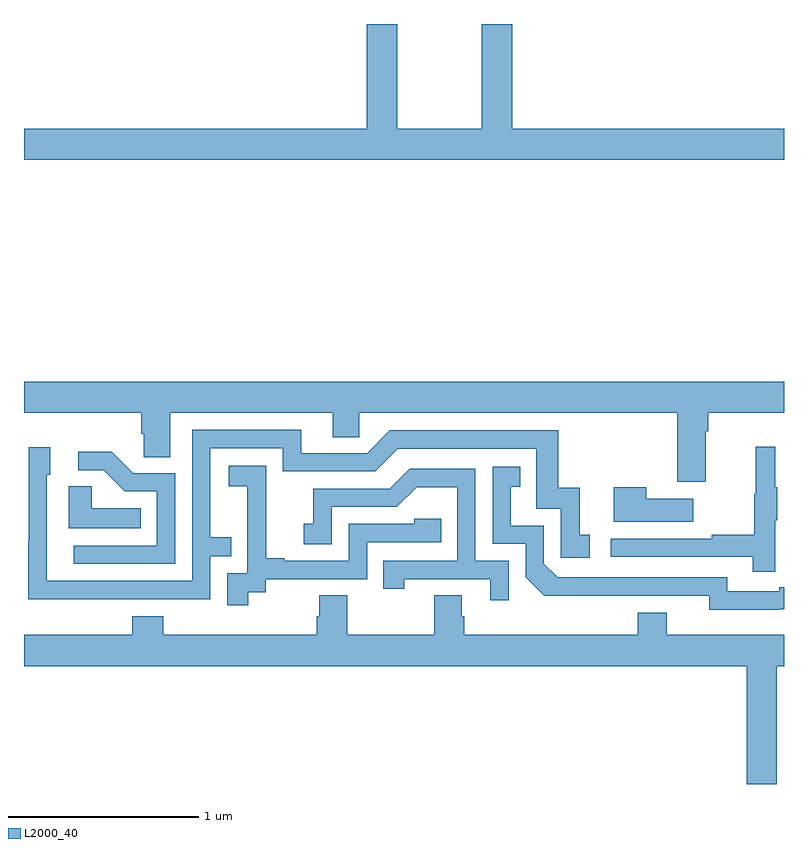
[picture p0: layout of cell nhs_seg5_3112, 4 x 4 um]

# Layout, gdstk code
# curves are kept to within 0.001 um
import gdstk
lib = gdstk.Library(unit=1e-6, precision=1e-09)
def P(c, l, *ps):  # polygons
    for p in ps: c.add(gdstk.Polygon(p, *l))
L2000_40 = (2000, 40)

nhs_seg5_3112 = lib.new_cell('nhs_seg5_3112')
P(nhs_seg5_3112, L2000_40, [(295,866.248),(293.57,866.248),(293.57,866.799),(293.41,866.799),(293.41,866.248),(292.965,866.248),(292.965,866.799),(292.805,866.799),(292.805,866.248),(291,866.248),(291,866.084),(295,866.084)],
  [(294.589,864.656),(294.602,864.656),(294.602,864.752),(295,864.752),(295,864.916),(291,864.916),(291,864.752),(291.617,864.752),(291.617,864.643),(291.63,864.643),(291.63,864.52),(291.769,864.52),(291.769,864.752),(292.625,864.752),(292.625,864.625),(292.764,864.625),(292.764,864.752),(294.437,864.752),(294.437,864.39),(294.589,864.39)],
  [(291.485,863.772),(291.981,863.772),(291.981,863.997),(292.091,863.997),(292.091,864.098),(291.981,864.098),(291.981,864.567),(292.362,864.567),(292.362,864.444),(292.848,864.444),(292.968,864.564),(293.697,864.564),(293.697,864.249),(293.826,864.249),(293.826,863.991),(293.977,863.991),(293.977,864.111),(293.924,864.111),(293.924,864.358),(293.813,864.358),(293.813,864.66),(292.926,864.66),(292.806,864.54),(292.459,864.54),(292.459,864.663),(291.885,864.663),(291.885,863.868),(291.12,863.868),(291.12,864.426),(291.139,864.426),(291.139,864.571),(291.024,864.571),(291.024,864.077),(291.022,864.077),(291.022,863.771)],
  [(294.953,864.187),(294.964,864.187),(294.964,864.361),(294.953,864.361),(294.953,864.574),(294.85,864.574),(294.85,864.324),(294.843,864.324),(294.843,864.11),(294.619,864.11),(294.619,864.09),(294.087,864.09),(294.087,863.994),(294.835,863.994),(294.835,863.916),(294.953,863.916)],
  [(291.795,864.435),(291.576,864.435),(291.463,864.548),(291.285,864.548),(291.285,864.45),(291.419,864.45),(291.53,864.339),(291.699,864.339),(291.699,864.054),(291.261,864.054),(291.261,863.958),(291.795,863.958)],
  [(292.18,863.809),(292.272,863.809),(292.272,863.877),(292.806,863.877),(292.806,864.072),(293.195,864.072),(293.195,864.195),(293.055,864.195),(293.055,864.168),(292.71,864.168),(292.71,863.973),(292.369,863.973),(292.369,863.986),(292.274,863.986),(292.274,864.269),(292.275,864.269),(292.275,864.475),(292.077,864.475),(292.077,864.365),(292.175,864.365),(292.175,864.137),(292.176,864.137),(292.176,863.907),(292.071,863.907),(292.071,863.739),(292.18,863.739)],
  [(294.974,863.718),(295,863.718),(295,863.834),(294.974,863.834),(294.974,863.814),(294.702,863.814),(294.702,863.886),(293.808,863.886),(293.736,863.958),(293.736,864.159),(293.563,864.159),(293.563,864.363),(293.612,864.363),(293.612,864.469),(293.466,864.469),(293.466,864.063),(293.64,864.063),(293.64,863.886),(293.738,863.789),(294.606,863.79),(294.606,863.717)],
  [(293.55,863.973),(293.376,863.973),(293.376,864.459),(293.03,864.459),(292.925,864.354),(292.522,864.354),(292.522,864.169),(292.473,864.169),(292.473,864.06),(292.62,864.06),(292.62,864.258),(292.962,864.258),(293.066,864.362),(293.28,864.362),(293.28,863.973),(292.891,863.973),(292.891,863.826),(293.002,863.826),(293.002,863.877),(293.453,863.877),(293.453,863.766),(293.55,863.766)],
  [(291.614,864.25),(291.357,864.25),(291.357,864.365),(291.236,864.365),(291.236,864.146),(291.614,864.146)],
  [(294.523,864.301),(294.275,864.301),(294.275,864.361),(294.104,864.361),(294.104,864.179),(294.523,864.179)],
  [(294.963,863.42),(295,863.42),(295,863.584),(294.382,863.584),(294.382,863.701),(294.23,863.701),(294.23,863.584),(293.318,863.584),(293.318,863.682),(293.305,863.682),(293.305,863.792),(293.158,863.792),(293.158,863.584),(292.701,863.584),(292.701,863.792),(292.553,863.792),(292.553,863.682),(292.541,863.682),(292.541,863.584),(291.734,863.584),(291.734,863.683),(291.569,863.683),(291.569,863.584),(291,863.584),(291,863.42),(294.803,863.42),(294.803,862.799),(294.963,862.799)])

lib.write_gds('nhs_seg5_3112.gds')
